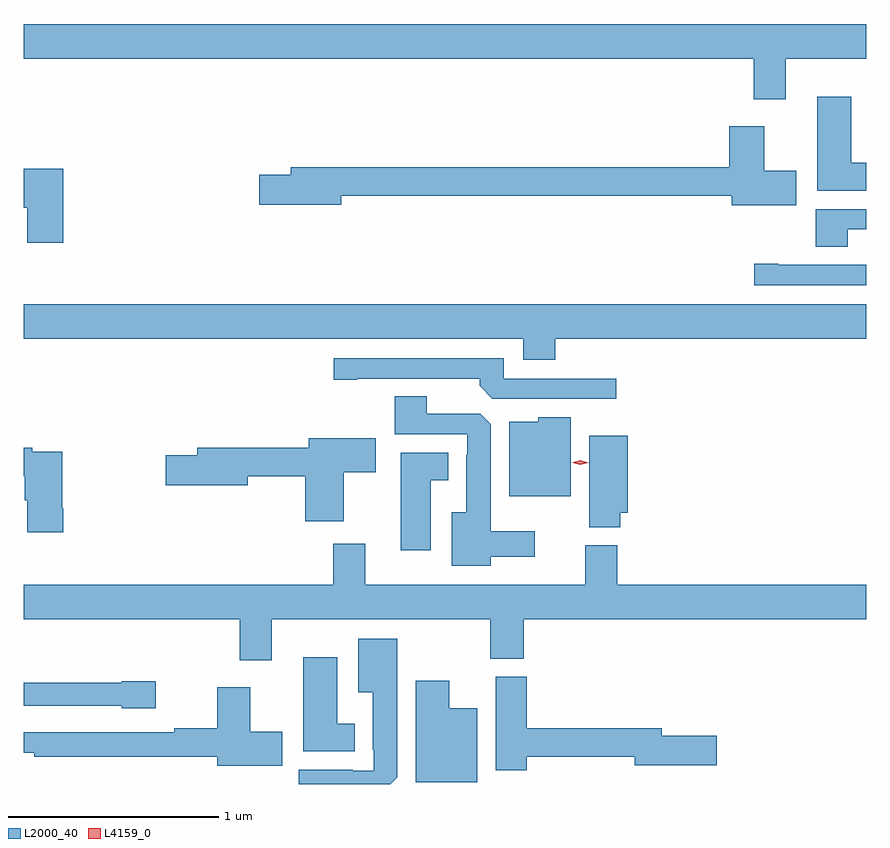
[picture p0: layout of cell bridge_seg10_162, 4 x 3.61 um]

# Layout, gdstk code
import gdstk
lib = gdstk.Library(unit=1e-6, precision=1e-09)
def P(c, l, *ps):  # polygons
    for p in ps: c.add(gdstk.Polygon(p, *l))
L2000_40 = (2000, 40)
L4159_0 = (4159, 0)

bridge_seg10_162 = lib.new_cell('bridge_seg10_162')
P(bridge_seg10_162, L2000_40, [(240.874,1281.668),(241.256,1281.668),(241.256,1281.832),(237.256,1281.832),(237.256,1281.668),(240.722,1281.668),(240.722,1281.474),(240.874,1281.474)],
  [(241.256,1281.172),(241.186,1281.172),(241.186,1281.487),(241.025,1281.487),(241.025,1281.041),(241.256,1281.041)],
  [(240.925,1281.135),(240.772,1281.135),(240.772,1281.346),(240.605,1281.346),(240.605,1281.152),(238.523,1281.152),(238.523,1281.116),(238.374,1281.116),(238.374,1280.974),(238.762,1280.974),(238.762,1281.016),(240.617,1281.016),(240.617,1280.972),(240.925,1280.972)],
  [(237.443,1281.145),(237.256,1281.145),(237.256,1280.96),(237.272,1280.96),(237.272,1280.793),(237.443,1280.793)],
  [(241.168,1280.856),(241.256,1280.856),(241.256,1280.952),(241.016,1280.952),(241.016,1280.773),(241.168,1280.773)],
  [(241.256,1280.688),(240.838,1280.688),(240.838,1280.693),(240.726,1280.693),(240.726,1280.592),(241.256,1280.592)],
  [(239.78,1280.336),(241.256,1280.336),(241.256,1280.5),(237.256,1280.5),(237.256,1280.336),(239.627,1280.336),(239.627,1280.237),(239.78,1280.237)],
  [(240.07,1280.148),(239.535,1280.148),(239.535,1280.244),(238.728,1280.244),(238.728,1280.143),(238.84,1280.143),(238.84,1280.148),(239.42,1280.148),(239.42,1280.114),(239.481,1280.052),(240.07,1280.052)],
  [(239.473,1279.301),(239.683,1279.301),(239.683,1279.423),(239.473,1279.423),(239.473,1279.931),(239.424,1279.98),(239.17,1279.98),(239.17,1280.063),(239.018,1280.063),(239.018,1279.884),(239.361,1279.884),(239.361,1279.787),(239.357,1279.787),(239.357,1279.513),(239.288,1279.513),(239.288,1279.259),(239.473,1279.259)],
  [(239.854,1279.963),(239.7,1279.963),(239.7,1279.942),(239.561,1279.942),(239.561,1279.589),(239.854,1279.589)],
  [(240.089,1279.511),(240.124,1279.511),(240.124,1279.876),(239.942,1279.876),(239.942,1279.441),(240.089,1279.441)],
  [(238.774,1279.702),(238.927,1279.702),(238.927,1279.864),(238.608,1279.864),(238.608,1279.82),(238.079,1279.82),(238.079,1279.784),(237.93,1279.784),(237.93,1279.642),(238.318,1279.642),(238.318,1279.684),(238.592,1279.684),(238.592,1279.469),(238.774,1279.469)],
  [(237.443,1279.531),(237.438,1279.531),(237.438,1279.8),(237.296,1279.8),(237.296,1279.82),(237.256,1279.82),(237.256,1279.684),(237.26,1279.684),(237.26,1279.569),(237.272,1279.569),(237.272,1279.419),(237.443,1279.419)],
  [(239.188,1279.664),(239.272,1279.664),(239.272,1279.795),(239.045,1279.795),(239.045,1279.332),(239.188,1279.332)],
  [(238.432,1279.004),(239.47,1279.004),(239.47,1278.817),(239.63,1278.817),(239.63,1279.004),(241.256,1279.004),(241.256,1279.168),(240.074,1279.168),(240.074,1279.356),(239.921,1279.356),(239.921,1279.168),(238.876,1279.168),(238.876,1279.363),(238.724,1279.363),(238.724,1279.168),(237.256,1279.168),(237.256,1279.004),(238.28,1279.004),(238.28,1278.81),(238.432,1278.81)],
  [(239.029,1278.255),(239.029,1278.913),(238.844,1278.913),(238.844,1278.659),(238.913,1278.659),(238.913,1278.385),(238.917,1278.385),(238.917,1278.285),(238.817,1278.285),(238.817,1278.289),(238.562,1278.289),(238.562,1278.222),(238.996,1278.222)],
  [(238.828,1278.508),(238.744,1278.508),(238.744,1278.823),(238.583,1278.823),(238.583,1278.377),(238.828,1278.377)],
  [(239.645,1278.352),(240.158,1278.352),(240.158,1278.31),(240.547,1278.31),(240.547,1278.452),(240.286,1278.452),(240.286,1278.488),(239.645,1278.488),(239.645,1278.732),(239.498,1278.732),(239.498,1278.288),(239.645,1278.288)],
  [(239.41,1278.583),(239.275,1278.583),(239.275,1278.712),(239.117,1278.712),(239.117,1278.23),(239.41,1278.23)],
  [(237.883,1278.711),(237.72,1278.711),(237.72,1278.703),(237.256,1278.703),(237.256,1278.594),(237.72,1278.594),(237.72,1278.581),(237.883,1278.581)],
  [(238.483,1278.471),(238.33,1278.471),(238.33,1278.682),(238.175,1278.682),(238.175,1278.488),(237.97,1278.488),(237.97,1278.468),(237.256,1278.468),(237.256,1278.371),(237.304,1278.371),(237.304,1278.352),(238.175,1278.352),(238.175,1278.308),(238.483,1278.308)])
P(bridge_seg10_162, L4159_0, [(239.899,1279.739),(239.861,1279.749),(239.861,1279.749),(239.861,1279.749),(239.899,1279.759),(239.937,1279.749),(239.937,1279.749),(239.937,1279.749)])

lib.write_gds('bridge_seg10_162.gds')
